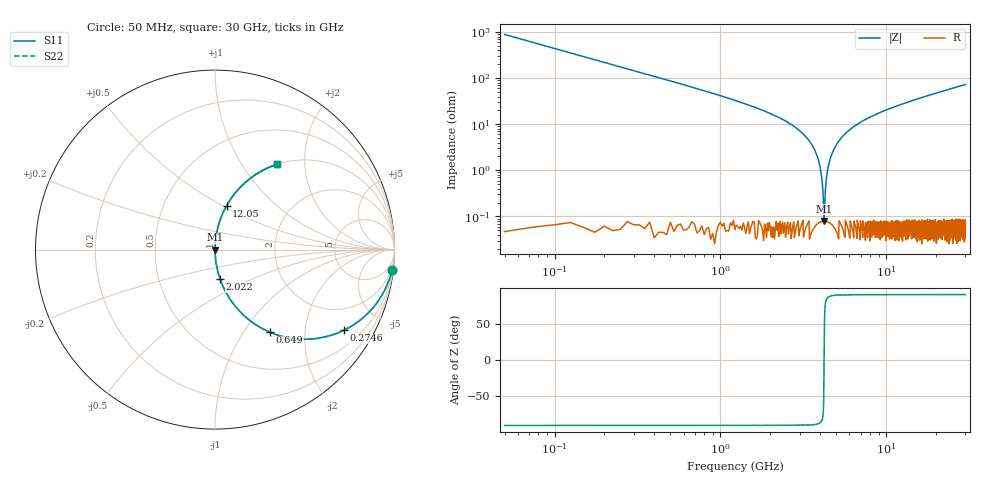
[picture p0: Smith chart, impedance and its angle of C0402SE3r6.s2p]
!	AVX Thin Film Operation 	Date: April 2014
!	Description: Accu-P® Series, Thin Film  SMD RF Capacitor
!	Part Number: 04025J3R6ABSTR
# MHZ S MA R 50
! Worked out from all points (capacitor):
!   1201 points, 50 MHz to 30 GHz, reference 50 ohm
!   read as one part in series: C = 3.6 pF near 199.8 MHz
!   lowest |Z| = 79.5 mohm at 4.218 GHz (marker M1)
!   series resonance near 4.221 GHz, so ESL is about 390 pH
!   S11 on the Smith chart (normalised r, x): 50 MHz: 1, -18; 274.6 MHz: 1.00, -3.20; 649 MHz: 1.00, -1.33; 2.022 GHz: 1.00, -0.34; 12.05 GHz: 1.00, +0.53; 30 GHz: 1.00, +1.46
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50  0.994 -6.5  0.112 83.5  0.112 83.5  0.994 -6.5
274.625  0.848 -32.0  0.529 58.0  0.529 58.0  0.848 -32.0
649  0.554 -56.3  0.832 33.6  0.832 33.6  0.554 -56.3
1148.167  0.336 -70.3  0.941 19.6  0.941 19.6  0.336 -70.3
2021.708  0.166 -80.2  0.986 9.6  0.986 9.6  0.166 -80.2
3045  0.069 -85.6  0.997 4.0  0.997 4.0  0.069 -85.6
3594.083  0.034 -87.1  0.999 1.9  0.999 1.9  0.034 -87.1
3918.542  0.016 -87.0  0.999 0.9  0.999 0.9  0.016 -87.0
4118.208  0.005172 -83.4  0.999 0.3  0.999 0.3  0.005172 -83.4
4218.042  0.0005835 -12.4  0.999 0.0  0.999 0.0  0.0005835 -12.4
4317.875  0.004807 82.9  0.999 -0.3  0.999 -0.3  0.004807 82.9
4442.667  0.011 86.3  0.999 -0.6  0.999 -0.6  0.011 86.3
4567.458  0.017 87.1  0.999 -0.9  0.999 -0.9  0.017 87.1
5041.667  0.037 87.0  0.999 -2.1  0.999 -2.1  0.037 87.0
5665.625  0.062 85.9  0.997 -3.6  0.997 -3.6  0.062 85.9
6738.833  0.101 83.9  0.994 -5.8  0.994 -5.8  0.101 83.9
10058.29  0.201 78.2  0.979 -11.6  0.979 -11.6  0.201 78.2
12054.96  0.254 75.2  0.967 -14.7  0.967 -14.7  0.254 75.2
15025  0.325 71.0  0.945 -18.9  0.945 -18.9  0.325 71.0
20016.67  0.429 64.5  0.903 -25.4  0.903 -25.4  0.429 64.5
25033.29  0.517 58.8  0.856 -31.1  0.856 -31.1  0.517 58.8
30000  0.589 53.8  0.807 -36.1  0.807 -36.1  0.589 53.8
